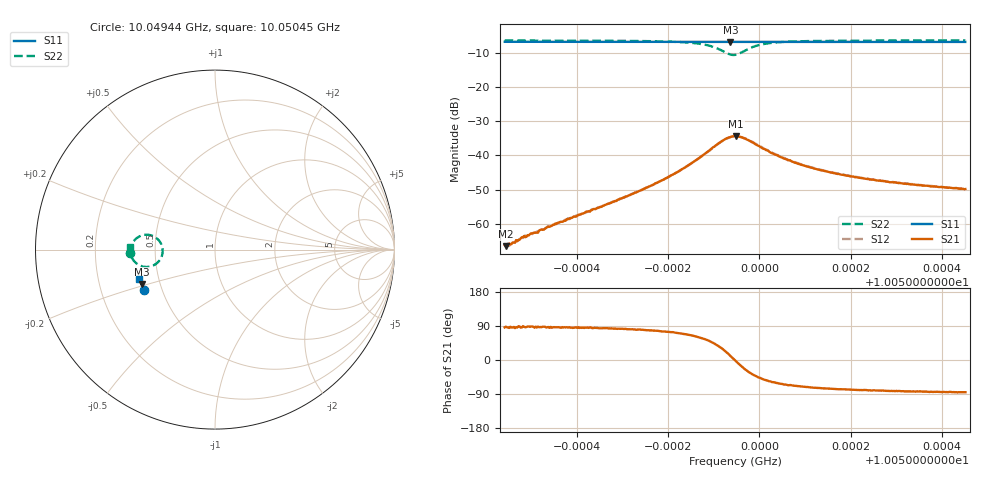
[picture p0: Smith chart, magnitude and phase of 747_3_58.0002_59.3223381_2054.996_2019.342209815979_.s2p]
#  HZ  S  RI  R  50.00
! Rohde & Schwarz Vector Network Analyzer
! Rohde-Schwarz,ZNB20-2Port,1311601062101988,3.16
! Created: UTC 3/21/2024, 1:23:51 AM
! freq[Hz]  re:S11  im:S11  re:S21  im:S21  re:S12  im:S12  re:S22  im:S22
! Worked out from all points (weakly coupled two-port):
!   401 points, 10.04944 GHz to 10.05045 GHz, reference 50 ohm
!   highest |S21| = -34.40 dB at 10.04995 GHz (marker M1); lowest = -66.5 dB at 10.04944 GHz (marker M2)
!   lowest |S11| = -6.9 dB at 10.04994 GHz (marker M3), VSWR 2.64, Z = 19.7 - j9.58 ohm
!   |S11| at or under -10 dB: nowhere
!   |S22| runs from -10.7 to -6.5 dB; largest |S21 - S12| = 0.0017
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1.0049441e10  -0.3949 -0.2235  3.37e-05 0.000488  -3.84e-05 0.000493  -0.474 -0.0178
1.0049444e10  -0.3952 -0.2233  1.81e-05 0.000471  1.36e-05 0.000501  -0.4739 -0.0175
1.0049456e10  -0.3955 -0.2227  3.53e-05 0.000503  2.17e-05 0.000524  -0.4739 -0.0162
1.0049499e10  -0.3968 -0.2199  2.11e-05 0.000726  -3.17e-05 0.000721  -0.4735 -0.0118
1.0049509e10  -0.3971 -0.2193  2.41e-05 0.000739  1.68e-05 0.000747  -0.4736 -0.0107
1.0049557e10  -0.3986 -0.2166  6.86e-05 0.00103  2.3e-05 0.00102  -0.473 -0.00502
1.004961e10  -0.4002 -0.2134  0.000131 0.0014  1.58e-05 0.0014  -0.4718 0.00194
1.0049709e10  -0.4031 -0.2074  0.000377 0.00248  0.000212 0.00253  -0.4678 0.0187
1.004978e10  -0.4049 -0.2032  0.000954 0.00401  0.000707 0.00405  -0.4599 0.0368
1.0049828e10  -0.4062 -0.2  0.0021 0.00576  0.00175 0.00584  -0.4463 0.055
1.0049876e10  -0.4073 -0.1969  0.00546 0.00836  0.00487 0.00861  -0.4107 0.078
1.0049911e10  -0.4075 -0.1946  0.0122 0.00886  0.0115 0.00958  -0.3466 0.076
1.0049936e10  -0.4074 -0.1933  0.0181 0.00336  0.0178 0.00502  -0.2956 0.0199
1.0049946e10  -0.4075 -0.1932  0.0189 -0.00029  0.0189 0.00129  -0.2921 -0.0164
1.0049949e10  -0.4076 -0.1932  0.019 -0.00134  0.0189 0.000331  -0.2934 -0.0255
1.0049974e10  -0.4087 -0.1924  0.0146 -0.00831  0.0154 -0.00724  -0.3431 -0.0879
1.005001e10  -0.41 -0.1906  0.00772 -0.00972  0.00857 -0.00923  -0.412 -0.0913
1.0050063e10  -0.4121 -0.1872  0.00337 -0.00777  0.00405 -0.00761  -0.4518 -0.0631
1.0050116e10  -0.4136 -0.184  0.00194 -0.00627  0.00239 -0.00618  -0.4646 -0.0424
1.0050189e10  -0.4155 -0.1794  0.00111 -0.00498  0.00142 -0.00491  -0.471 -0.0238
1.0050285e10  -0.4179 -0.1736  0.000585 -0.00401  0.000859 -0.00405  -0.4738 -0.00763
1.0050452e10  -0.4217 -0.1632  0.00028 -0.0032  0.000479 -0.00322  -0.4749 0.0118
